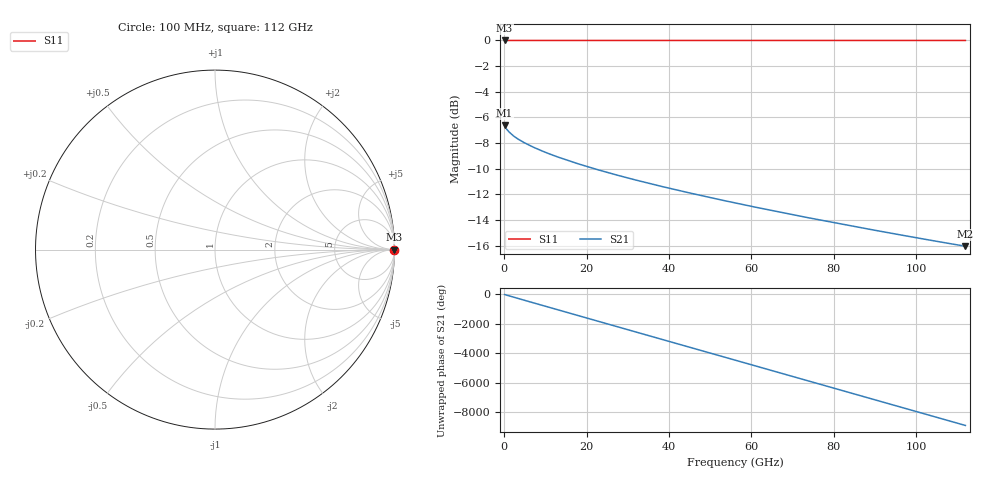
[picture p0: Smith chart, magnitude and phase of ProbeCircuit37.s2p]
! File created by SignalIntegrity v1.3.3: Signal and Power Integrity Tools
! https://github.com/TeledyneLeCroy/SignalIntegrity
# MHz S MA R 50.0
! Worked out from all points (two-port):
!   1120 points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, 100 MHz to 112 GHz, reference 50 ohm
!   highest |S21| = -6.63 dB at 100 MHz (marker M1); lowest = -16.0 dB at 112 GHz (marker M2)
!   |S21| within 3 dB of the highest: start of sweep to 18.07 GHz
!   lowest |S11| = 0.0 dB at 100 MHz (marker M3)
!   |S11| at or under -10 dB: nowhere
!   S12 and S22 are empty: the file has one direction only
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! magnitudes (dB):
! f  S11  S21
! 100 MHz  0.0  -6.6
! 400 MHz  0.0  -6.8
! 900 MHz  0.0  -7.0
! 1.3 GHz  0.0  -7.2
! 2.3 GHz  0.0  -7.5
! 4 GHz  0.0  -7.8
! 6.1 GHz  0.0  -8.2
! 8.5 GHz  0.0  -8.5
! 12 GHz  0.0  -9.0
! 15.1 GHz  0.0  -9.3
! 18.8 GHz  0.0  -9.7
! 21.8 GHz  0.0  -10.0
! 26.4 GHz  0.0  -10.4
! 30.8 GHz  0.0  -10.8
! 37.4 GHz  0.0  -11.3
! 46.6 GHz  0.0  -12.0
! 56.1 GHz  0.0  -12.7
! 64.9 GHz  0.0  -13.3
! 74.7 GHz  0.0  -13.9
! 93.4 GHz  0.0  -15.0
! 110.5 GHz  0.0  -16.0
! 112 GHz  0.0  -16.0
